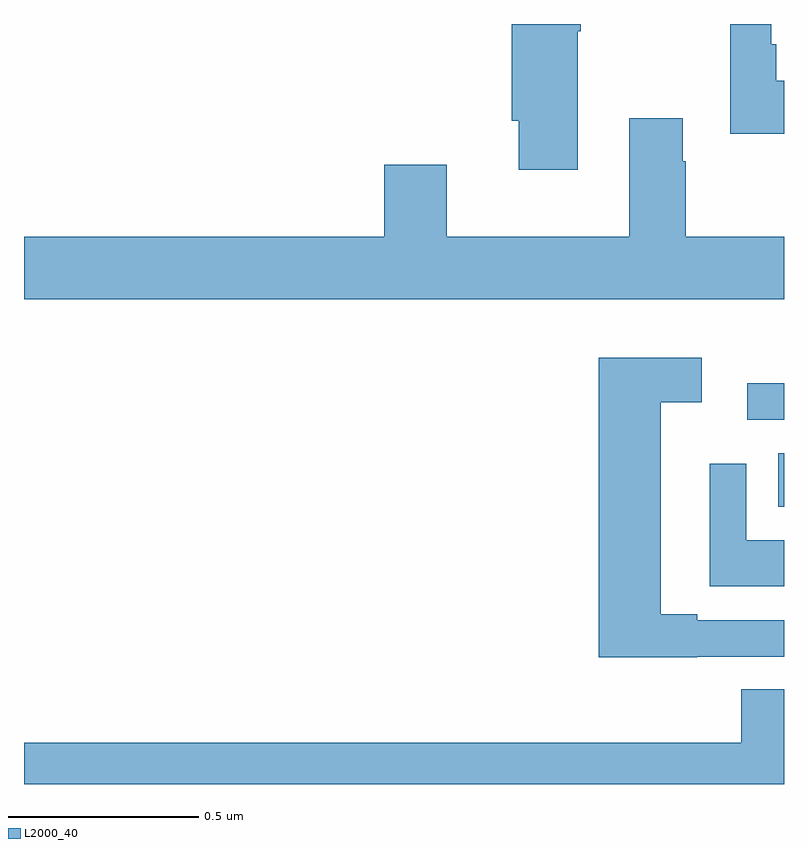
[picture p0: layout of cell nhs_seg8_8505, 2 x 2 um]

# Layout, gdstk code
import gdstk
lib = gdstk.Library(unit=1e-6, precision=1e-09)
def R(c, l, rs):  # rectangles x0, y0, x1, y1
    for r in rs: c.add(gdstk.rectangle(r[:2], r[2:], *l))
def P(c, l, *ps):  # polygons
    for p in ps: c.add(gdstk.Polygon(p, *l))
L2000_40 = (2000, 40)

nhs_seg8_8505 = lib.new_cell('nhs_seg8_8505')
R(nhs_seg8_8505, L2000_40, [(225.985,1106.63,226,1106.77), (225.903,1106.859,226,1106.955)])
P(nhs_seg8_8505, L2000_40, [(226,1107.751),(225.979,1107.751),(225.979,1107.847),(225.966,1107.847),(225.966,1107.9),(225.858,1107.9),(225.858,1107.611),(226,1107.611)],
  [(225.457,1107.881),(225.465,1107.881),(225.465,1107.9),(225.284,1107.9),(225.284,1107.645),(225.302,1107.645),(225.302,1107.516),(225.457,1107.516)],
  [(225.733,1107.539),(225.733,1107.652),(225.593,1107.652),(225.593,1107.34),(225.112,1107.34),(225.112,1107.529),(224.948,1107.529),(224.948,1107.34),(224,1107.34),(224,1107.176),(226,1107.176),(226,1107.34),(225.741,1107.34),(225.741,1107.539)],
  [(225.772,1106.235),(226,1106.235),(226,1106.331),(225.772,1106.331),(225.772,1106.347),(225.676,1106.347),(225.676,1106.905),(225.784,1106.905),(225.784,1107.022),(225.512,1107.022),(225.512,1106.233),(225.772,1106.233)],
  [(226,1106.542),(225.9,1106.542),(225.9,1106.743),(225.804,1106.743),(225.804,1106.524),(225.805,1106.524),(225.805,1106.421),(226,1106.421)],
  [(226,1106.15),(225.887,1106.15),(225.887,1106.008),(224,1106.008),(224,1105.9),(226,1105.9)])

lib.write_gds('nhs_seg8_8505.gds')
